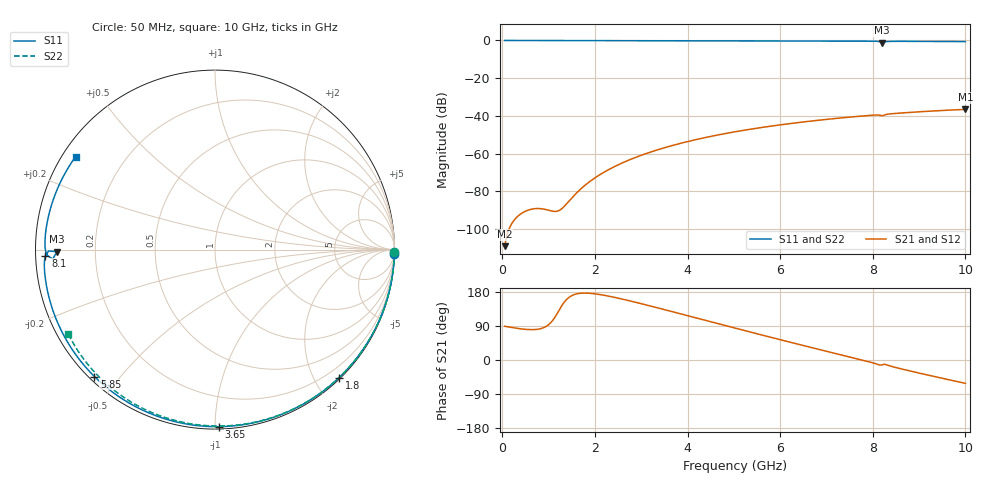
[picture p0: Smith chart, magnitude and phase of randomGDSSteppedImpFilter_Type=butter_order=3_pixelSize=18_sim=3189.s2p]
! freq	dB(S11)	phase(S11)	dB(S12)	phase(S12)
!  dB(S21)	phase(S21)	dB(S22)	phase(S22)
!S-par simulation data
#  GHz  S  DB  R 50
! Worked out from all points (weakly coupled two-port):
!   200 points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, 50 MHz to 10 GHz, reference 50 ohm
!   highest |S21| = -36.54 dB at 10 GHz (marker M1); lowest = -109.0 dB at 50 MHz (marker M2)
!   lowest |S11| = -1.1 dB at 8.2 GHz (marker M3), VSWR 15.68, Z = 3.19 - j0.331 ohm
!   |S11| at or under -10 dB: nowhere
!   |S22| runs from -0.5 to 0.0 dB; largest |S21 - S12| = 0
!   S11 on the Smith chart (normalised r, x): 50 MHz: 0, -87; 1.8 GHz: 0.02, -2.36; 3.65 GHz: 0.01, -1.02; 5.85 GHz: 0.01, -0.43; 8.1 GHz: 0.03, -0.02; 10 GHz: 0.04, +0.30
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0.05  -0.00 -1.3  -109.04 89.0  -109.04 89.0  -0.00 -0.9
0.8  -0.03 -20.8  -89.10 81.9  -89.10 81.9  -0.02 -13.8
1.6  -0.05 -41.0  -80.91 174.3  -80.91 174.3  -0.03 -27.4
1.65  -0.05 -42.2  -79.72 175.5  -79.72 175.5  -0.04 -28.2
1.75  -0.06 -44.7  -77.50 176.6  -77.50 176.6  -0.04 -29.9
1.8  -0.06 -45.9  -76.48 176.6  -76.48 176.6  -0.04 -30.7
2.1  -0.07 -53.2  -71.25 172.9  -71.25 172.9  -0.05 -35.7
2.45  -0.08 -61.6  -66.53 164.6  -66.53 164.6  -0.05 -41.5
2.9  -0.09 -72.0  -61.78 151.7  -61.78 151.7  -0.06 -48.8
3.4  -0.11 -83.3  -57.60 136.2  -57.60 136.2  -0.08 -56.7
3.65  -0.12 -88.8  -55.82 128.2  -55.82 128.2  -0.08 -60.7
4.35  -0.14 -103.6  -51.64 105.8  -51.64 105.8  -0.10 -71.4
5.05  -0.17 -117.9  -48.31 83.5  -48.31 83.5  -0.13 -81.9
5.85  -0.22 -133.5  -45.24 58.3  -45.24 58.3  -0.16 -93.5
6.7  -0.27 -149.8  -42.63 32.1  -42.63 32.1  -0.21 -105.4
7.5  -0.34 -165.0  -40.63 7.9  -40.63 7.9  -0.26 -116.4
8.1  -0.49 -177.9  -39.49 -11.2  -39.49 -11.2  -0.31 -124.5
8.2  -1.11 -179.2  -39.94 -13.1  -39.94 -13.1  -0.32 -125.8
8.25  -0.86 -176.7  -39.53 -11.1  -39.53 -11.1  -0.32 -126.5
8.35  -0.51 -179.4  -38.98 -14.9  -38.98 -14.9  -0.33 -127.8
9.15  -0.50 163.8  -37.59 -38.7  -37.59 -38.7  -0.41 -138.5
10  -0.60 146.3  -36.54 -61.6  -36.54 -61.6  -0.51 -150.0
